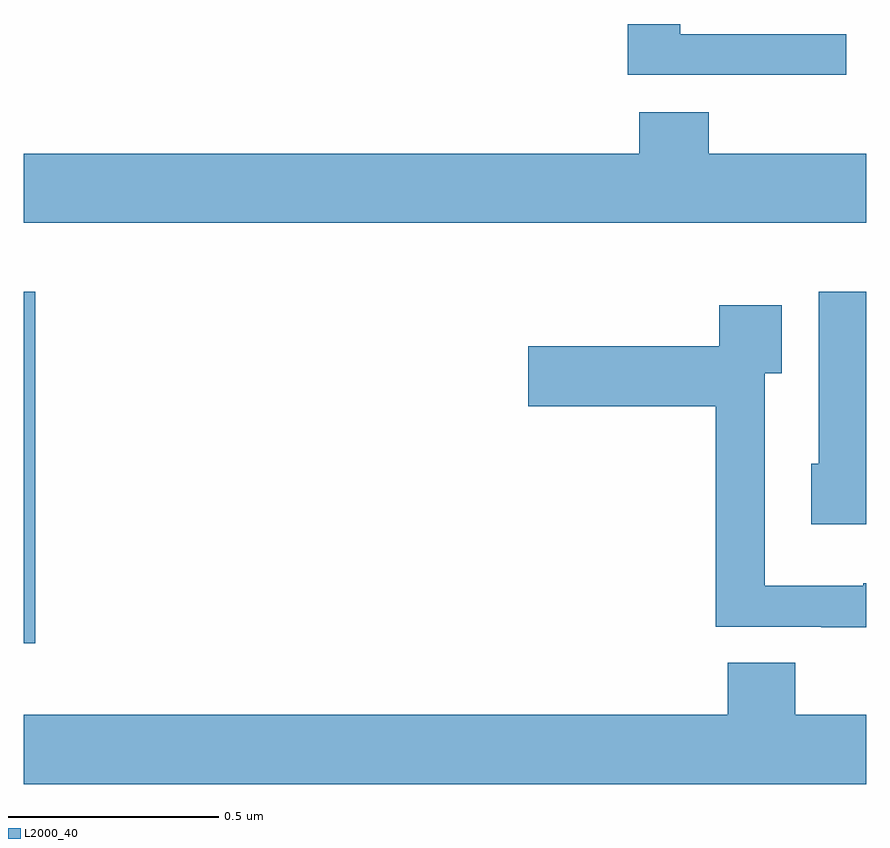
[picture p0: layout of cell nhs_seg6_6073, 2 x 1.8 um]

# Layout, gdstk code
import gdstk
lib = gdstk.Library(unit=1e-6, precision=1e-09)
def R(c, l, rs):  # rectangles x0, y0, x1, y1
    for r in rs: c.add(gdstk.rectangle(r[:2], r[2:], *l))
def P(c, l, *ps):  # polygons
    for p in ps: c.add(gdstk.Polygon(p, *l))
L2000_40 = (2000, 40)

nhs_seg6_6073 = lib.new_cell('nhs_seg6_6073')
R(nhs_seg6_6073, L2000_40, [(191,921.03,191.027,921.865)])
P(nhs_seg6_6073, L2000_40, [(192.952,922.476),(192.559,922.476),(192.559,922.5),(192.434,922.5),(192.434,922.379),(192.952,922.379)],
  [(193,922.192),(192.626,922.192),(192.626,922.291),(192.461,922.291),(192.461,922.192),(191,922.192),(191,922.028),(193,922.028)],
  [(193,921.865),(192.887,921.865),(192.887,921.456),(192.869,921.456),(192.869,921.312),(193,921.312)],
  [(193,921.172),(192.993,921.172),(192.993,921.166),(192.759,921.166),(192.759,921.671),(192.799,921.671),(192.799,921.832),(192.651,921.832),(192.651,921.735),(192.198,921.735),(192.198,921.593),(192.643,921.593),(192.643,921.069),(192.893,921.069),(192.893,921.068),(193,921.068)],
  [(193,920.86),(192.831,920.86),(192.831,920.984),(192.671,920.984),(192.671,920.86),(191,920.86),(191,920.696),(193,920.696)])

lib.write_gds('nhs_seg6_6073.gds')
